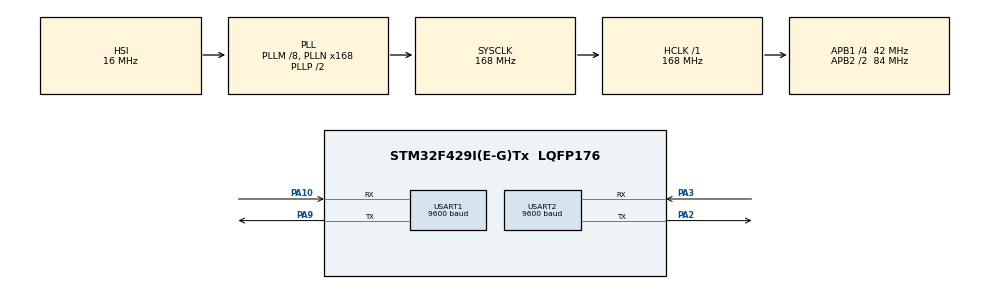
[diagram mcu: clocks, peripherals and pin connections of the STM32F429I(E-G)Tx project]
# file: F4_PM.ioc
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Mcu.Family=STM32F4
Mcu.Name=STM32F429I(E-G)Tx
Mcu.Package=LQFP176
NVIC.PriorityGroup=NVIC_PRIORITYGROUP_4
PA10.Mode=Asynchronous
PA10.Signal=USART1_RX
PA13.Mode=Serial_Wire
PA13.Signal=SYS_JTMS-SWDIO
PA14.Mode=Serial_Wire
PA14.Signal=SYS_JTCK-SWCLK
PA2.Mode=Asynchronous
PA2.Signal=USART2_TX
PA3.Mode=Asynchronous
PA3.Signal=USART2_RX
PA9.Mode=Asynchronous
PA9.Signal=USART1_TX
PH0/OSC_IN.Mode=HSE-External-Oscillator
PH0/OSC_IN.Signal=RCC_OSC_IN
PH1/OSC_OUT.Mode=HSE-External-Oscillator
PH1/OSC_OUT.Signal=RCC_OSC_OUT
ProjectManager.HeapSize=0x200
ProjectManager.StackSize=0x400
ProjectManager.TargetToolchain=MDK-ARM V5.32
RCC.48MHZClocksFreq_Value=84000000
RCC.AHBFreq_Value=168000000
RCC.APB1CLKDivider=RCC_HCLK_DIV4
RCC.APB1Freq_Value=42000000
RCC.APB1TimFreq_Value=84000000
RCC.APB2CLKDivider=RCC_HCLK_DIV2
RCC.APB2Freq_Value=84000000
RCC.APB2TimFreq_Value=168000000
RCC.CortexFreq_Value=168000000
RCC.HCLKFreq_Value=168000000
RCC.HSE_VALUE=25000000
RCC.HSI_VALUE=16000000
RCC.LSE_VALUE=32768
RCC.PLLM=8
RCC.PLLN=168
RCC.SYSCLKFreq_VALUE=168000000
RCC.SYSCLKSource=RCC_SYSCLKSOURCE_PLLCLK
RCC.VCOOutputFreq_Value=336000000
USART1.BaudRate=9600
USART1.VirtualMode=VM_ASYNC
USART2.BaudRate=9600
USART2.VirtualMode=VM_ASYNC
board=custom

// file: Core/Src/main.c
/* USER CODE BEGIN Header */
/**
  ******************************************************************************
  * @file           : main.c
  * @brief          : Main program body
  ******************************************************************************
  * @attention
  *
  * Copyright (c) 2026 STMicroelectronics.
  * All rights reserved.
  *
  * This software is licensed under terms that can be found in the LICENSE file
  * in the root directory of this software component.
  * If no LICENSE file comes with this software, it is provided AS-IS.
  *
  ******************************************************************************
  */
/* USER CODE END Header */
#include "main.h"
#include "usart.h"
#include "gpio.h"

/* USER CODE BEGIN Includes */
#include "hmi_user_uart.h"
#include "hmi_driver.h"
#include "H7Link.h"
#include "ScreenLink.h"

/* USER CODE END Includes */

/* USER CODE BEGIN PV */
static uint32_t h7_link_tick;
static uint32_t screen_sync_tick;
static uint8_t screen_sync_retries;

/* USER CODE END PV */

void SystemClock_Config(void);

/* USER CODE BEGIN 0 */

/*
 * 大彩 VisualTFT 无 CRC 文本写入最小驱动。
 * F1 验证工程的 CRC16_ENABLE=0，因此这里沿用：
 *   EE B1 10 [ScreenID:2] [ControlID:2] [ASCII text] FF FC FF FF
 */

/* USER CODE END 0 */

int main(void)
{

  /* MCU Configuration--------------------------------------------------------*/

  /* Reset of all peripherals, Initializes the Flash interface and the Systick. */
  HAL_Init();

  /* Configure the system clock */
  SystemClock_Config();

  /* Initialize all configured peripherals */
  MX_GPIO_Init();
  MX_USART2_UART_Init();
  MX_USART1_UART_Init();
  H7Link_Init();
  ScreenLink_Init();
  H7Link_SendLine("PING\r\n");
  /* USER CODE BEGIN 2 */

  /*
   * 串口屏最小验证：切换到 Screen0，并向第一个文本控件(ID=1)写入字符 3。
   * 延时用于等待屏幕上电完成；主循环还会周期性重发，避免屏幕启动较慢时漏帧。
   */
  /* The 7-inch HMI boots slower than the MCU. Wait before the first update. */
  HAL_Delay(2000);
  ScreenLink_SetPage(0U);
  HAL_Delay(50);
  ScreenLink_UpdateAll();
  /* USER CODE END 2 */

  /* Infinite loop */
  /* USER CODE BEGIN WHILE */
  h7_link_tick = HAL_GetTick();
  screen_sync_tick = HAL_GetTick();
  screen_sync_retries = 0U;
  while (1)
  {
    /* USER CODE END WHILE */

    /* USER CODE BEGIN 3 */
    ScreenLink_Process();
    H7Link_Process();

    if ((HAL_GetTick() - h7_link_tick) >= 1000U)
    {
      H7Link_SendLine("PING\r\n");
      h7_link_tick = HAL_GetTick();
    }

    /* Retry only during startup in case the HMI missed its first frames. */
    if ((screen_sync_retries < 3U) &&
        ((HAL_GetTick() - screen_sync_tick) >= 1000U))
    {
      ScreenLink_SetPage(0U);
      ScreenLink_UpdateAll();
      ++screen_sync_retries;
      screen_sync_tick = HAL_GetTick();
    }

  }
  /* USER CODE END 3 */
}

void SystemClock_Config(void)
{
  RCC_OscInitTypeDef RCC_OscInitStruct = {0};
  RCC_ClkInitTypeDef RCC_ClkInitStruct = {0};

  /** Configure the main internal regulator output voltage
  */
  __HAL_RCC_PWR_CLK_ENABLE();
  __HAL_PWR_VOLTAGESCALING_CONFIG(PWR_REGULATOR_VOLTAGE_SCALE1);

  /** Initializes the RCC Oscillators according to the specified parameters
  * in the RCC_OscInitTypeDef structure.
  */
  RCC_OscInitStruct.OscillatorType = RCC_OSCILLATORTYPE_HSI;
  RCC_OscInitStruct.HSIState = RCC_HSI_ON;
  RCC_OscInitStruct.HSICalibrationValue = RCC_HSICALIBRATION_DEFAULT;
  RCC_OscInitStruct.PLL.PLLState = RCC_PLL_ON;
  RCC_OscInitStruct.PLL.PLLSource = RCC_PLLSOURCE_HSI;
  RCC_OscInitStruct.PLL.PLLM = 8;
  RCC_OscInitStruct.PLL.PLLN = 168;
  RCC_OscInitStruct.PLL.PLLP = RCC_PLLP_DIV2;
  RCC_OscInitStruct.PLL.PLLQ = 4;
  if (HAL_RCC_OscConfig(&RCC_OscInitStruct) != HAL_OK)
  {
    Error_Handler();
  }

  /** Initializes the CPU, AHB and APB buses clocks
  */
  RCC_ClkInitStruct.ClockType = RCC_CLOCKTYPE_HCLK|RCC_CLOCKTYPE_SYSCLK
                              |RCC_CLOCKTYPE_PCLK1|RCC_CLOCKTYPE_PCLK2;
  RCC_ClkInitStruct.SYSCLKSource = RCC_SYSCLKSOURCE_PLLCLK;
  RCC_ClkInitStruct.AHBCLKDivider = RCC_SYSCLK_DIV1;
  RCC_ClkInitStruct.APB1CLKDivider = RCC_HCLK_DIV4;
  RCC_ClkInitStruct.APB2CLKDivider = RCC_HCLK_DIV2;

  if (HAL_RCC_ClockConfig(&RCC_ClkInitStruct, FLASH_LATENCY_5) != HAL_OK)
  {
    Error_Handler();
  }
}

void Error_Handler(void)
{
  __disable_irq();
  while (1)
  {
  }
}
